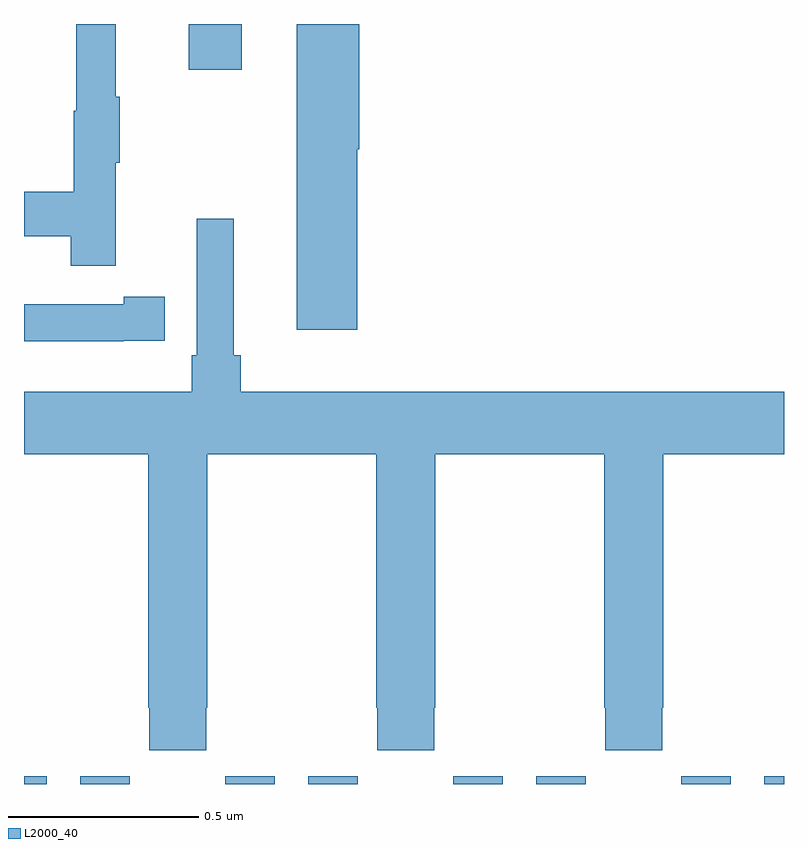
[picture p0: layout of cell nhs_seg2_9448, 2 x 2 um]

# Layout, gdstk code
import gdstk
lib = gdstk.Library(unit=1e-6, precision=1e-09)
def R(c, l, rs):  # rectangles x0, y0, x1, y1
    for r in rs: c.add(gdstk.rectangle(r[:2], r[2:], *l))
def P(c, l, *ps):  # polygons
    for p in ps: c.add(gdstk.Polygon(p, *l))
L2000_40 = (2000, 40)

nhs_seg2_9448 = lib.new_cell('nhs_seg2_9448')
R(nhs_seg2_9448, L2000_40, [(229,614.8,229.06,614.821), (229.148,614.8,229.278,614.821), (229.53,614.8,229.66,614.821), (229.748,614.8,229.878,614.821), (230.13,614.8,230.26,614.821), (230.348,614.8,230.478,614.821), (230.73,614.8,230.86,614.821), (230.948,614.8,231,614.821), (229.433,616.68,229.573,616.8)])
P(nhs_seg2_9448, L2000_40, [(229.877,616.47),(229.882,616.47),(229.882,616.8),(229.718,616.8),(229.718,615.996),(229.877,615.996)],
  [(229.241,616.435),(229.252,616.435),(229.252,616.609),(229.241,616.609),(229.241,616.8),(229.138,616.8),(229.138,616.572),(229.131,616.572),(229.131,616.358),(229,616.358),(229,616.242),(229.123,616.242),(229.123,616.164),(229.241,616.164)],
  [(229.479,615.001),(229.482,615.001),(229.482,615.668),(229.927,615.668),(229.927,615.001),(229.929,615.001),(229.929,614.889),(230.079,614.889),(230.079,615.001),(230.082,615.001),(230.082,615.668),(230.527,615.668),(230.527,615.001),(230.529,615.001),(230.529,614.889),(230.679,614.889),(230.679,615.001),(230.682,615.001),(230.682,615.668),(231,615.668),(231,615.832),(229.571,615.832),(229.571,615.928),(229.552,615.928),(229.552,616.288),(229.455,616.288),(229.455,615.928),(229.442,615.928),(229.442,615.832),(229,615.832),(229,615.668),(229.327,615.668),(229.327,615.001),(229.329,615.001),(229.329,614.889),(229.479,614.889)],
  [(229.262,615.966),(229.37,615.966),(229.37,616.082),(229.262,616.082),(229.262,616.062),(229,616.062),(229,615.965),(229.262,615.965)])

lib.write_gds('nhs_seg2_9448.gds')
